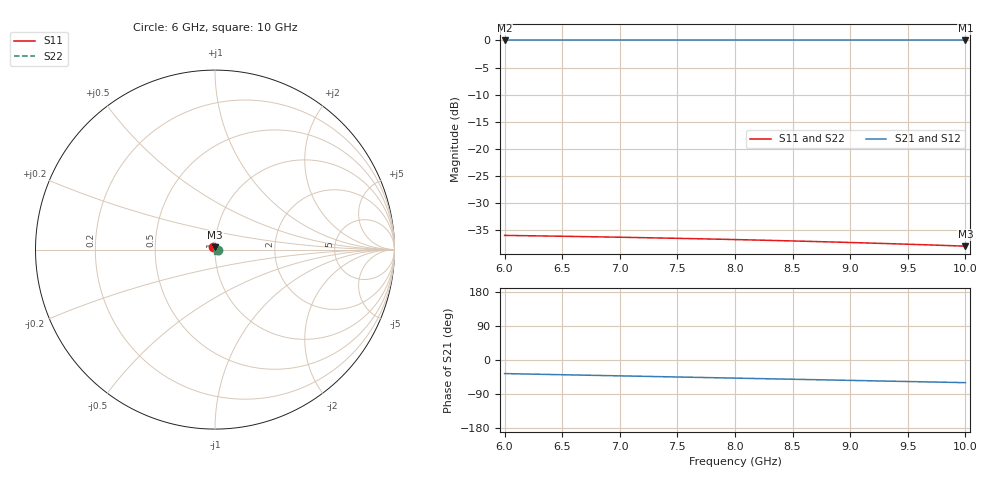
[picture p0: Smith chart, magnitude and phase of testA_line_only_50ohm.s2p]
! Touchstone file exported from HFSS 2024.2.0
!  File:  C:/Users/artho/Documents/Ansoft/ansys_testA.aedt
!  Generated:  12:47:39 AM Sep  7, 2026
!  Design:  HFSS_5OP
!  Project:  ansys_testA
!  Setup:  Setup1
!  Solution:  Sweep1
!Data is not renormalized
! Created with skrf 2.1.0 (http://scikit-rf.org).
! Data is not renormalized
! S-parameter uses the power definition
# GHz S RI R
! Port[1] = p1
! Port[2] = p2
!freq ReS11 ImS11 ReS21 ImS21 ReS12 ImS12 ReS22 ImS22
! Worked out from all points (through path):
!   41 points, 6 GHz to 10 GHz, reference per port
!   highest |S21| = 0.00 dB at 10 GHz (marker M1); lowest = 0.0 dB at 6 GHz (marker M2)
!   group delay of S21, straight-line fit = 16.6 ps
!   lowest |S11| = -37.9 dB at 10 GHz (marker M3), VSWR 1.03
!   |S11| at or under -10 dB: start of sweep to end of sweep
!   |S22| runs from -37.9 to -35.9 dB; largest |S21 - S12| = 3.7e-15
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6  -0.00866 0.0134  0.8102 -0.5859  0.8102 -0.5859  0.0154 -0.00403
! Port Impedance 50.00000000000000 0.00000000000000 50.00000000000000 0.00000000000000
6.1  -0.00842 0.0135  0.8041 -0.5943  0.8041 -0.5943  0.0154 -0.00409
6.3  -0.00792 0.0137  0.7915 -0.611  0.7915 -0.611  0.0152 -0.0042
6.5  -0.00743 0.0138  0.7786 -0.6273  0.7786 -0.6273  0.0151 -0.00432
6.7  -0.00693 0.0139  0.7653 -0.6435  0.7653 -0.6435  0.0149 -0.00443
7  -0.00618 0.0141  0.7448 -0.6671  0.7448 -0.6671  0.0146 -0.0046
7.2  -0.00568 0.0141  0.7307 -0.6825  0.7307 -0.6825  0.0145 -0.00471
7.4  -0.00519 0.0142  0.7163 -0.6976  0.7163 -0.6976  0.0143 -0.00481
7.7  -0.00445 0.0142  0.6941 -0.7197  0.6941 -0.7197  0.014 -0.00496
8  -0.00373 0.0141  0.6713 -0.7411  0.6713 -0.7411  0.0137 -0.0051
8.2  -0.00325 0.0141  0.6557 -0.7549  0.6557 -0.7549  0.0135 -0.00519
8.4  -0.00278 0.014  0.6398 -0.7684  0.6398 -0.7684  0.0133 -0.00527
8.6  -0.00232 0.0139  0.6236 -0.7816  0.6236 -0.7816  0.013 -0.00535
8.7  -0.0021 0.0139  0.6154 -0.7881  0.6154 -0.7881  0.0129 -0.00539
8.9  -0.00165 0.0137  0.5988 -0.8008  0.5988 -0.8008  0.0127 -0.00546
9.1  -0.00122 0.0136  0.582 -0.8131  0.582 -0.8131  0.0125 -0.00553
9.3  -0.000795 0.0134  0.5649 -0.8251  0.5649 -0.8251  0.0122 -0.00559
9.4  -0.000589 0.0133  0.5563 -0.8309  0.5563 -0.8309  0.0121 -0.00562
9.6  -0.000187 0.0131  0.5388 -0.8423  0.5388 -0.8423  0.0118 -0.00567
9.7  9.13e-06 0.013  0.53 -0.8479  0.53 -0.8479  0.0117 -0.0057
9.9  0.00039 0.0128  0.5122 -0.8588  0.5122 -0.8588  0.0115 -0.00574
10  0.000574 0.0127  0.5032 -0.8641  0.5032 -0.8641  0.0113 -0.00576
